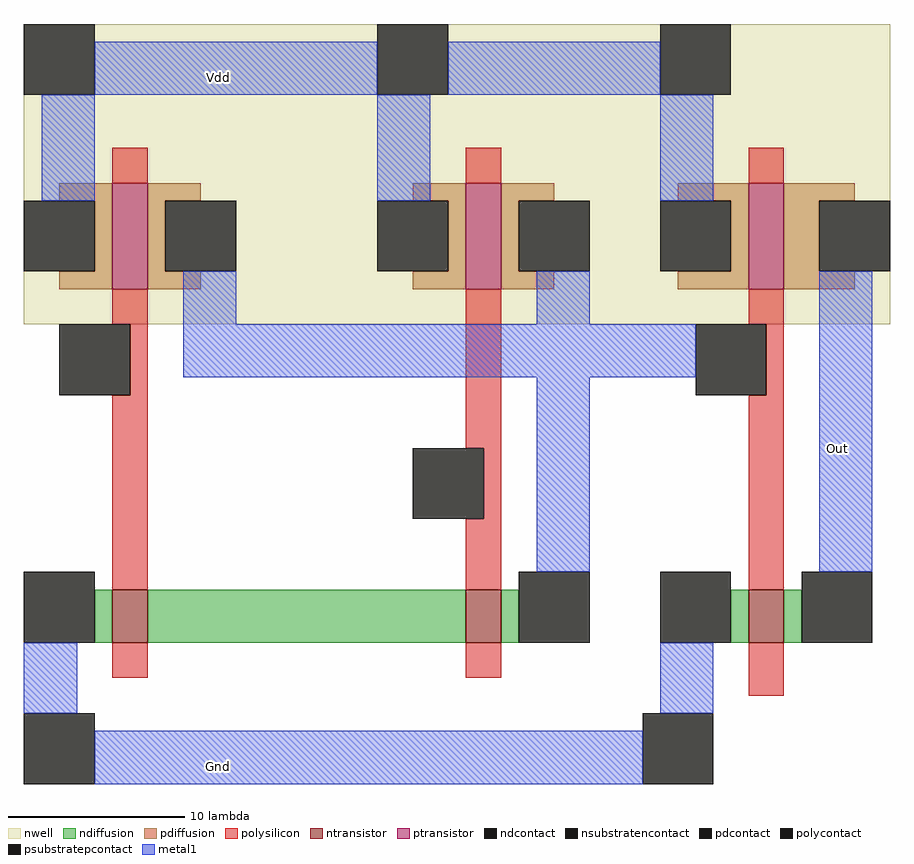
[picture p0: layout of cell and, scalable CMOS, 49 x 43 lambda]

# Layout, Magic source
magic
tech scmos
<< nwell >>
rect 11 25 60 42
<< polysilicon >>
rect 16 33 18 35
rect 36 33 38 35
rect 52 33 54 35
rect 16 25 18 27
rect 17 21 18 25
rect 16 10 18 21
rect 36 18 38 27
rect 52 25 54 27
rect 53 21 54 25
rect 37 14 38 18
rect 36 10 38 14
rect 52 10 54 21
rect 16 5 18 7
rect 36 5 38 7
rect 52 4 54 7
<< ndiffusion >>
rect 15 7 16 10
rect 18 7 36 10
rect 38 7 39 10
rect 51 7 52 10
rect 54 7 55 10
<< pdiffusion >>
rect 13 32 16 33
rect 15 28 16 32
rect 13 27 16 28
rect 18 32 21 33
rect 33 32 36 33
rect 18 28 19 32
rect 35 28 36 32
rect 18 27 21 28
rect 33 27 36 28
rect 38 32 41 33
rect 48 32 52 33
rect 38 28 39 32
rect 51 28 52 32
rect 38 27 41 28
rect 48 27 52 28
rect 54 32 58 33
rect 54 28 56 32
rect 54 27 58 28
<< metal1 >>
rect 15 38 31 41
rect 35 38 47 41
rect 12 32 15 38
rect 31 32 34 38
rect 47 32 50 38
rect 20 25 23 28
rect 40 25 43 28
rect 20 22 49 25
rect 40 11 43 22
rect 56 11 59 28
rect 11 3 14 7
rect 47 3 50 7
rect 15 -1 46 2
<< ntransistor >>
rect 16 7 18 10
rect 36 7 38 10
rect 52 7 54 10
<< ptransistor >>
rect 16 27 18 33
rect 36 27 38 33
rect 52 27 54 33
<< polycontact >>
rect 13 21 17 25
rect 49 21 53 25
rect 33 14 37 18
<< ndcontact >>
rect 11 7 15 11
rect 39 7 43 11
rect 47 7 51 11
rect 55 7 59 11
<< pdcontact >>
rect 11 28 15 32
rect 19 28 23 32
rect 31 28 35 32
rect 39 28 43 32
rect 47 28 51 32
rect 56 28 60 32
<< psubstratepcontact >>
rect 11 -1 15 3
rect 46 -1 50 3
<< nsubstratencontact >>
rect 11 38 15 42
rect 31 38 35 42
rect 47 38 51 42
<< labels >>
rlabel metal1 22 39 22 39 1 Vdd
rlabel metal1 22 0 22 0 1 Gnd
rlabel metal1 57 18 57 18 3 Out
<< end >>
